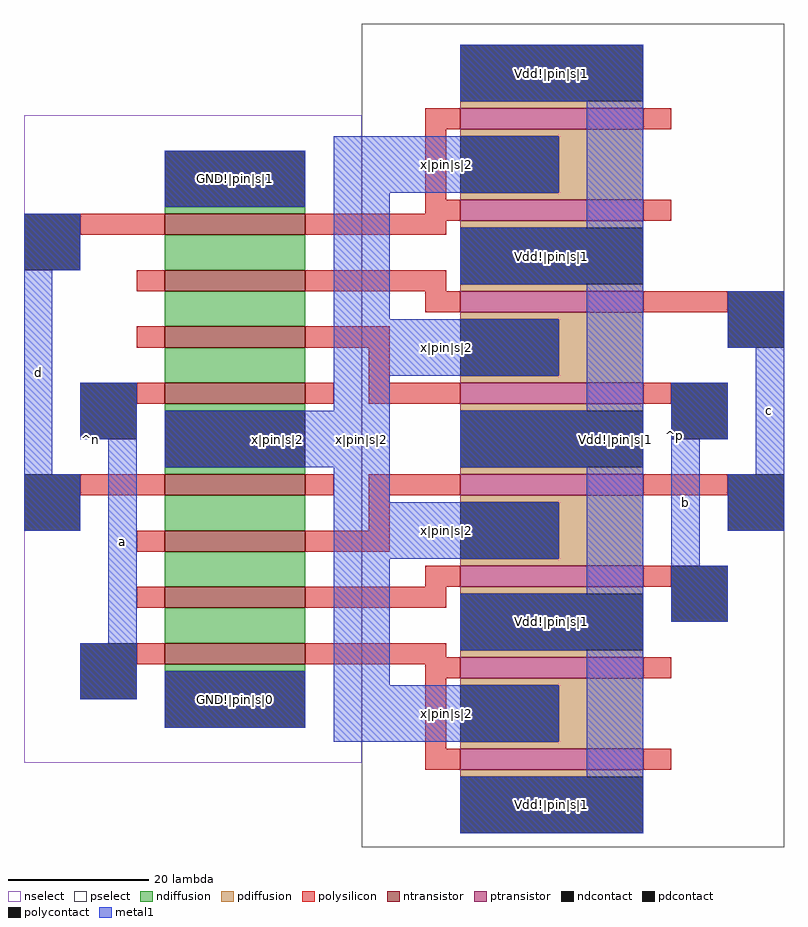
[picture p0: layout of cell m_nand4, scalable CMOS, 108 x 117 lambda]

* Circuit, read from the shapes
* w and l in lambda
.subckt m_nand4 GND!|pin|s|0 GND!|pin|s|1 Vdd!|pin|s|1 a b c d x|pin|s|2
M1 n1 a GND!|pin|s|0 VSUBS nfet w=20 l=3
M2 n2 b n1 VSUBS nfet w=20 l=3
M3 n3 c n2 VSUBS nfet w=20 l=3
M4 x|pin|s|2 d n3 VSUBS nfet w=20 l=3
M5 n4 a x|pin|s|2 VSUBS nfet w=20 l=3
M6 n5 b n4 VSUBS nfet w=20 l=3
M7 n6 c n5 VSUBS nfet w=20 l=3
M8 GND!|pin|s|1 d n6 VSUBS nfet w=20 l=3
M9 x|pin|s|2 a Vdd!|pin|s|1 NWELL pfet w=26 l=3 m=2
M10 x|pin|s|2 b Vdd!|pin|s|1 NWELL pfet w=26 l=3 m=2
M11 Vdd!|pin|s|1 c x|pin|s|2 NWELL pfet w=26 l=3 m=2
M12 x|pin|s|2 d Vdd!|pin|s|1 NWELL pfet w=26 l=3 m=2
.ends

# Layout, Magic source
magic
tech scmos
<< nselect >>
rect -48 -784 0 -692
<< pselect >>
rect 0 -796 60 -679
<< ndiffusion >>
rect -28 -706 -8 -705
rect -28 -714 -8 -709
rect -28 -722 -8 -717
rect -28 -730 -8 -725
rect -28 -734 -8 -733
rect -28 -743 -8 -742
rect -28 -751 -8 -746
rect -28 -759 -8 -754
rect -28 -767 -8 -762
rect -28 -771 -8 -770
<< pdiffusion >>
rect 14 -691 40 -690
rect 14 -695 40 -694
rect 28 -703 40 -695
rect 14 -704 40 -703
rect 14 -708 40 -707
rect 14 -717 40 -716
rect 14 -721 40 -720
rect 28 -729 40 -721
rect 14 -730 40 -729
rect 14 -734 40 -733
rect 14 -743 40 -742
rect 14 -747 40 -746
rect 28 -755 40 -747
rect 14 -756 40 -755
rect 14 -760 40 -759
rect 14 -769 40 -768
rect 14 -773 40 -772
rect 28 -781 40 -773
rect 14 -782 40 -781
rect 14 -786 40 -785
<< ntransistor >>
rect -28 -709 -8 -706
rect -28 -717 -8 -714
rect -28 -725 -8 -722
rect -28 -733 -8 -730
rect -28 -746 -8 -743
rect -28 -754 -8 -751
rect -28 -762 -8 -759
rect -28 -770 -8 -767
<< ptransistor >>
rect 14 -694 40 -691
rect 14 -707 40 -704
rect 14 -720 40 -717
rect 14 -733 40 -730
rect 14 -746 40 -743
rect 14 -759 40 -756
rect 14 -772 40 -769
rect 14 -785 40 -782
<< polysilicon >>
rect 9 -694 14 -691
rect 40 -694 44 -691
rect 9 -704 12 -694
rect 9 -706 14 -704
rect -40 -709 -28 -706
rect -8 -707 14 -706
rect 40 -707 44 -704
rect -8 -709 12 -707
rect -32 -717 -28 -714
rect -8 -717 12 -714
rect 9 -720 14 -717
rect 40 -720 52 -717
rect -32 -725 -28 -722
rect -8 -725 4 -722
rect 1 -730 4 -725
rect -32 -733 -28 -730
rect -8 -733 -4 -730
rect 1 -733 14 -730
rect 40 -733 44 -730
rect -40 -746 -28 -743
rect -8 -746 -4 -743
rect 1 -746 14 -743
rect 40 -746 52 -743
rect 1 -751 4 -746
rect -32 -754 -28 -751
rect -8 -754 4 -751
rect 9 -759 14 -756
rect 40 -759 44 -756
rect -32 -762 -28 -759
rect -8 -762 12 -759
rect -32 -770 -28 -767
rect -8 -769 12 -767
rect -8 -770 14 -769
rect 9 -772 14 -770
rect 40 -772 44 -769
rect 9 -782 12 -772
rect 9 -785 14 -782
rect 40 -785 44 -782
<< ndcontact >>
rect -28 -705 -8 -697
rect -28 -742 -8 -734
rect -28 -779 -8 -771
<< pdcontact >>
rect 14 -690 40 -682
rect 14 -703 28 -695
rect 14 -716 40 -708
rect 14 -729 28 -721
rect 14 -742 40 -734
rect 14 -755 28 -747
rect 14 -768 40 -760
rect 14 -781 28 -773
rect 14 -794 40 -786
<< polycontact >>
rect -48 -714 -40 -706
rect 52 -725 60 -717
rect -40 -738 -32 -730
rect 44 -738 52 -730
rect -48 -751 -40 -743
rect 52 -751 60 -743
rect -40 -775 -32 -767
rect 44 -764 52 -756
<< metal1 >>
rect 14 -690 40 -682
rect -28 -705 -8 -697
rect -4 -703 28 -695
rect -48 -714 -40 -706
rect -48 -743 -44 -714
rect -4 -721 4 -703
rect 32 -708 40 -690
rect 14 -716 40 -708
rect -4 -729 28 -721
rect -40 -738 -32 -730
rect -4 -734 4 -729
rect 32 -734 40 -716
rect 52 -725 60 -717
rect -48 -751 -40 -743
rect -36 -767 -32 -738
rect -28 -742 4 -734
rect 14 -742 40 -734
rect -40 -775 -32 -767
rect -4 -747 4 -742
rect -4 -755 28 -747
rect -28 -779 -8 -771
rect -4 -773 4 -755
rect 32 -760 40 -742
rect 14 -768 40 -760
rect 44 -738 52 -730
rect 44 -756 48 -738
rect 56 -743 60 -725
rect 52 -751 60 -743
rect 44 -764 52 -756
rect -4 -781 28 -773
rect 32 -786 40 -768
rect 14 -794 40 -786
<< labels >>
rlabel metal1 56 -751 60 -717 7 c
rlabel metal1 44 -764 48 -730 1 b
rlabel space -49 -788 -28 -688 7 ^n
rlabel space 28 -796 61 -679 3 ^p
rlabel metal1 -28 -779 -8 -771 1 GND!|pin|s|0
rlabel metal1 14 -716 40 -708 1 Vdd!|pin|s|1
rlabel metal1 14 -768 40 -760 1 Vdd!|pin|s|1
rlabel metal1 32 -794 40 -682 1 Vdd!|pin|s|1
rlabel metal1 -4 -781 4 -695 1 x|pin|s|2
rlabel metal1 -4 -703 28 -695 1 x|pin|s|2
rlabel metal1 -4 -729 28 -721 1 x|pin|s|2
rlabel metal1 -4 -755 28 -747 1 x|pin|s|2
rlabel metal1 -4 -781 28 -773 1 x|pin|s|2
rlabel metal1 -28 -742 4 -734 1 x|pin|s|2
rlabel metal1 -28 -705 -8 -697 1 GND!|pin|s|1
rlabel metal1 14 -690 40 -682 1 Vdd!|pin|s|1
rlabel metal1 14 -742 40 -734 1 Vdd!|pin|s|1
rlabel metal1 14 -794 40 -786 1 Vdd!|pin|s|1
rlabel metal1 -36 -775 -32 -730 1 a
rlabel metal1 -48 -751 -44 -706 3 d
<< end >>
